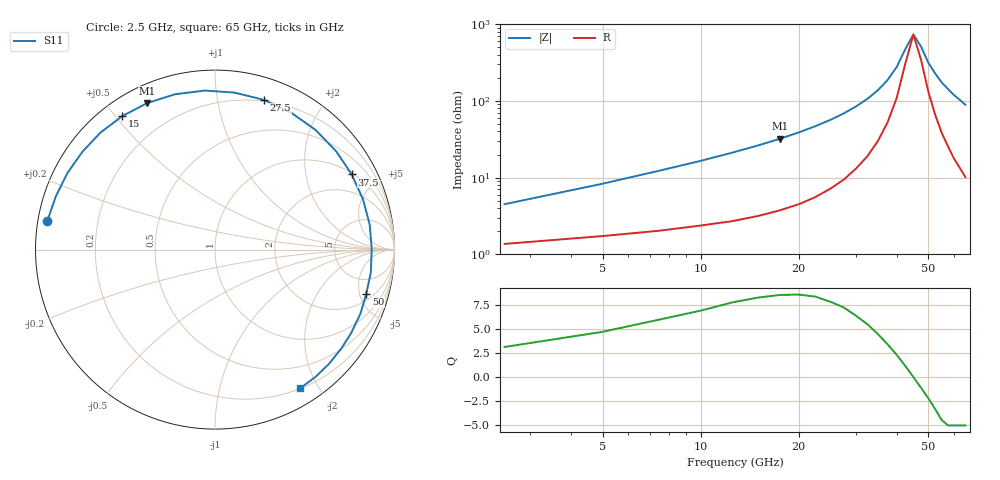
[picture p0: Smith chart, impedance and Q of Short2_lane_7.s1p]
! File created by SignalIntegrity v1.5.1: Signal and Power Integrity Tools
! https://github.com/Nubis-Communications/SignalIntegrity
# MHz S MA R 50.0
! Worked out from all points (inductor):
!   26 points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, 2.5 GHz to 65 GHz, reference 50 ohm
!   read as one part to ground: L = 256 pH near 2.5 GHz
!   highest Q = 8.55 at 17.5 GHz (marker M1), where L = 290 pH
!   self-resonance near 45.13 GHz
!   S11 on the Smith chart (normalised r, x): 2.5 GHz: 0.03, +0.09; 15 GHz: 0.06, +0.52; 27.5 GHz: 0.19, +1.36; 37.5 GHz: 1.05, +3.61; 50 GHz: 2.66, -5.75; 65 GHz: 0.20, -1.77
2500  0.9474 170.2
5000  0.9351 161.5
7500  0.9263 152.6
10000  0.9181 143.7
12500  0.9123 134.4
15000  0.9057 124.8
17500  0.8994 114.8
20000  0.8936 104.5
22500  0.8879 93.7
25000  0.8816 82.9
27500  0.8776 71.8
30000  0.8727 60.8
32500  0.8708 49.9
35000  0.8695 39.2
37500  0.8693 28.8
40000  0.8709 18.8
42500  0.8731 9.2
45000  0.8732 0.2
47500  0.8775 -8.3
50000  0.8782 -16.4
52500  0.8854 -23.8
55000  0.8897 -31.4
57500  0.8942 -38.2
60000  0.8992 -45.3
62500  0.9033 -51.4
65000  0.9073 -58.4
